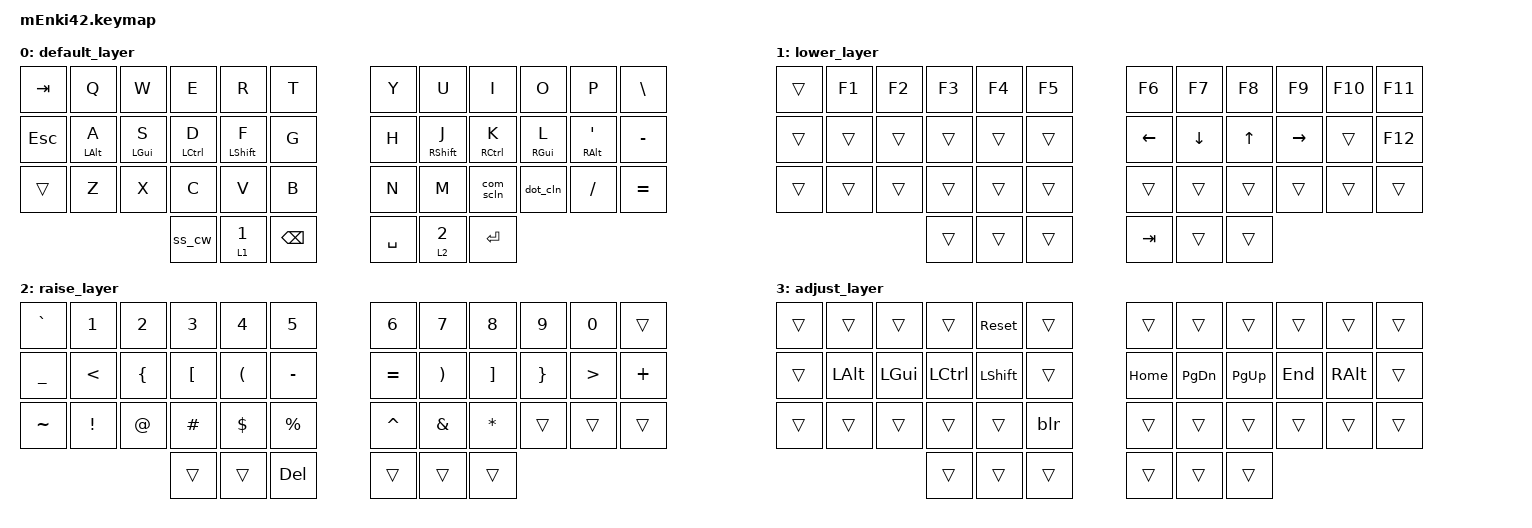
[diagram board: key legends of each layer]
/*
 * Copyright (c) 2020 The ZMK Contributors
 *
 * SPDX-License-Identifier: MIT
 */

#include <behaviors.dtsi>
#include <dt-bindings/zmk/keys.h>
#include "zmk-helpers/helper.h"
#include "zmk-helpers/key-labels/42.h"

#define DEF 0
#define LWR 1
#define RSE 2
#define ADJ 3
#define KEYS_L LT0 LT1 LT2 LT3 LT4 LT5 LM0 LM1 LM2 LM3 LM4 LM5 LB0 LB1 LB2 LB3 LB4 LB5
#define KEYS_R RT0 RT1 RT2 RT3 RT4 RT5 RM0 RM1 RM2 RM3 RM4 RM5 RB0 RB1 RB2 RB3 RB4 RB5
#define THUMBS LH2 LH1 LH0 RH0 RH1 RH2

ZMK_CONDITIONAL_LAYER(magic, 1 2, 3)

ZMK_BEHAVIOR(bsp_del, mod_morph,
    bindings = <&kp BSPC>, <&kp DEL>;
    mods = <(MOD_LSFT|MOD_RSFT)>;
)

ZMK_BEHAVIOR(dot_cln, mod_morph,
    bindings = <&kp DOT>, <&kp COLON>;
    mods = <(MOD_LSFT|MOD_RSFT)>;
)

ZMK_BEHAVIOR(com_scln, mod_morph,
    bindings = <&kp COMMA>, <&kp SEMI>;
    mods = <(MOD_LSFT|MOD_RSFT)>;
)

ZMK_BEHAVIOR(mtl, hold_tap,
    flavor = "hold-preferred";
    tapping-term-ms = <200>;
    bindings = <&mo>, <&sl>;
)

ZMK_BEHAVIOR(shift_macro, macro,
    wait-ms = <0>;
    tap-ms = <1>;
    bindings = <&sk RSHFT>;
)

ZMK_BEHAVIOR(ss_cw, tap_dance,
    tapping-term-ms = <200>;
    bindings = <&shift_macro>, <&kp CAPS>;
)

ZMK_BEHAVIOR(blr, tap_dance,
    tapping-term-ms = <200>;
    bindings = <&trans>, <&bootloader>;
)

ZMK_BEHAVIOR(hml, hold_tap,
    flavor = "balanced";
    tapping-term-ms = <280>;
    quick-tap-ms = <175>;                // repeat on tap-into-hold
    require-prior-idle-ms = <150>;
    bindings = <&kp>, <&kp>;
    hold-trigger-key-positions = <KEYS_R THUMBS>;
    hold-trigger-on-release;             // delay positional check until key-release
)

ZMK_BEHAVIOR(hmr, hold_tap,
    flavor = "balanced";
    tapping-term-ms = <280>;
    quick-tap-ms = <175>;                // repeat on tap-into-hold
    require-prior-idle-ms = <150>;
    bindings = <&kp>, <&kp>;
    hold-trigger-key-positions = <KEYS_L THUMBS>;
    hold-trigger-on-release;             // delay positional check until key-release
)

&lt { flavor = "tap-preferred"; };

&sk { 
    quick-release;
    ignore-modifiers;
};

&sl { 
    quick-release;
    ignore-modifiers;
};

/ {
    keymap {
        compatible = "zmk,keymap";

        default_layer {

            bindings = <
&kp TAB  &kp Q            &kp W            &kp E                &kp R              &kp T       &kp Y      &kp U               &kp I                 &kp O             &kp P                        &kp BSLH
&kp ESC  &hml LEFT_ALT A  &hml LEFT_GUI S  &hml LEFT_CONTROL D  &hml LEFT_SHIFT F  &kp G       &kp H      &hmr RIGHT_SHIFT J  &hmr RIGHT_CONTROL K  &hmr RIGHT_GUI L  &hmr RIGHT_ALT SINGLE_QUOTE  &kp MINUS
&trans   &kp Z            &kp X            &kp C                &kp V              &kp B       &kp N      &kp M               &com_scln             &dot_cln          &kp FSLH                     &kp EQUAL
                                           &ss_cw               &mtl 1 1           &kp BSPC    &kp SPACE  &mtl 2 2            &kp RET
            >;
        };

        lower_layer {

            bindings = <
&trans  &kp F1   &kp F2   &kp F3  &kp F4  &kp F5     &kp F6    &kp F7          &kp F8        &kp F9           &kp F10  &kp F11
&trans  &trans   &trans   &trans  &trans  &trans     &kp LEFT  &kp DOWN_ARROW  &kp UP_ARROW  &kp RIGHT_ARROW  &trans   &kp F12
&trans  &trans   &trans   &trans  &trans  &trans     &trans    &trans          &trans        &trans           &trans   &trans
                          &trans  &trans  &trans     &kp TAB   &trans          &trans
            >;
        };

        raise_layer {

            bindings = <
&kp GRAVE       &kp NUMBER_1     &kp NUMBER_2    &kp NUMBER_3      &kp NUMBER_4          &kp NUMBER_5    &kp NUMBER_6  &kp NUMBER_7           &kp NUMBER_8       &kp NUMBER_9     &kp NUMBER_0      &trans
&kp UNDERSCORE  &kp LESS_THAN    &kp LEFT_BRACE  &kp LEFT_BRACKET  &kp LEFT_PARENTHESIS  &kp MINUS       &kp EQUAL     &kp RIGHT_PARENTHESIS  &kp RIGHT_BRACKET  &kp RIGHT_BRACE  &kp GREATER_THAN  &kp PLUS
&kp TILDE       &kp EXCLAMATION  &kp AT_SIGN     &kp HASH          &kp DOLLAR            &kp PERCENT     &kp CARET     &kp AMPERSAND          &kp STAR           &trans           &trans            &trans
                                                 &trans            &trans                &kp DEL         &trans        &trans                 &trans
            >;
        };

        adjust_layer {

            bindings = <
&trans  &trans    &trans    &trans     &sys_reset  &trans    &trans    &trans     &trans     &trans   &trans         &trans
&trans  &kp LALT  &kp LGUI  &kp LCTRL  &kp LSHIFT  &trans    &kp HOME  &kp PG_DN  &kp PG_UP  &kp END  &kp RALT       &trans
&trans  &trans    &trans    &trans     &trans      &blr      &trans    &trans     &trans     &trans   &trans         &trans
                            &trans     &trans      &trans    &trans    &trans     &trans
            >;
        };
    };
};
